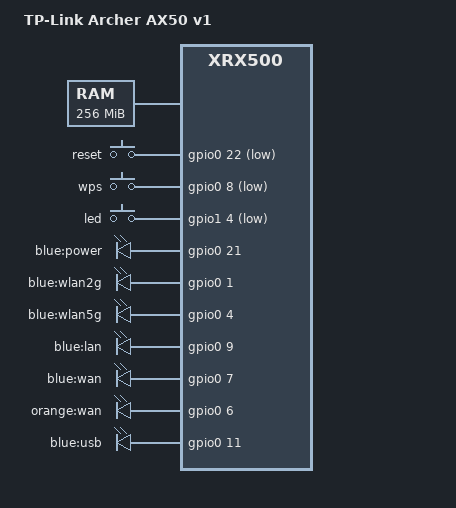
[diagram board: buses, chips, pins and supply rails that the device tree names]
// SPDX-License-Identifier: GPL-2.0-only
/*
 * TP-Link Archer AX50 v1
 *
 *   SoC:    Intel/MaxLinear GRX350 (xRX500), MIPS interAptiv, big-endian
 *   RAM:    256 MiB DDR3
 *   Flash:  128 MiB NAND (2 KiB page, 128 KiB block)
 *   Wi-Fi:  MaxLinear WAV654 (2x2 2.4 GHz + 2x2 5 GHz, 802.11ax), PCIe
 *   Ports:  4x LAN + 1x WAN 1 Gbit/s (internal GPHY), 1x USB 3.0
 *
 * Плата — производная от референсной EASY350 ANYWAN AxePoint (стоковый DTB
 * так и называется), поэтому базой взят easy350_anywan_axepoint_rt.dts.
 * Все отличия ниже сверены с DTB из прошивки TP-Link 1.1.2 Build 20251022
 * и с конфигурацией U-Boot из GPL-архива ax50v1_GPL_3 (см. docs/hardware.md).
 */

#include "easy350_anywan_axepoint_rt.dts"

#include <dt-bindings/gpio/gpio.h>
#include <dt-bindings/input/input.h>

/ {
	model = "TP-Link Archer AX50 v1";
	compatible = "tplink,archer-ax50-v1", "intel,easy350_anywan",
		     "lantiq,grx500", "lantiq,xrx500";

	/* 256 MiB по адресу 0x20000000 (U-Boot передаёт mem=256M@512M) */
	memory@0 {
		device_type = "memory";
		reg = <0x20000000 0x10000000>;
	};

	/*
	 * Светодиод состояния для /etc/diag.sh (мигает при загрузке и в failsafe).
	 * Алиасы led-usb/led-internet намеренно не заданы: штатный 01_leds
	 * таргета привязал бы «интернет» к DSL-интерфейсу nas0. Триггеры
	 * светодиодов AX50 настраивает /etc/board.d/03_ax50 (ax50-base-files).
	 */
	aliases {
		led-boot = &led_power;
		led-failsafe = &led_power;
		led-running = &led_power;
		led-upgrade = &led_power;
	};

	keys {
		compatible = "gpio-keys-polled";
		#address-cells = <1>;
		#size-cells = <0>;
		poll-interval = <100>;

		reset {
			label = "reset";
			gpios = <&gpio0 22 GPIO_ACTIVE_LOW>;
			linux,code = <KEY_RESTART>;
		};

		/* Кнопка WPS/Wi-Fi: короткое нажатие — WPS, от 2 с — вкл/выкл Wi-Fi
		 * (как в стоке, /etc/rc.button/wps) */
		wps {
			label = "wps";
			gpios = <&gpio0 8 GPIO_ACTIVE_LOW>;
			linux,code = <KEY_WPS_BUTTON>;
		};

		/* Кнопка LED: вкл/выкл всех светодиодов (/etc/rc.button/lights_toggle).
		 * В стоковом DTB она подписана «wifi», но Wi-Fi не управляет. */
		led {
			label = "led";
			gpios = <&gpio1 4 GPIO_ACTIVE_LOW>;
			linux,code = <KEY_LIGHTS_TOGGLE>;
		};
	};

	leds {
		compatible = "gpio-leds";

		led_power: power {
			label = "blue:power";
			gpios = <&gpio0 21 GPIO_ACTIVE_HIGH>;
			default-state = "on";
		};

		wlan2g {
			label = "blue:wlan2g";
			gpios = <&gpio0 1 GPIO_ACTIVE_HIGH>;
		};

		wlan5g {
			label = "blue:wlan5g";
			gpios = <&gpio0 4 GPIO_ACTIVE_HIGH>;
		};

		lan {
			label = "blue:lan";
			gpios = <&gpio0 9 GPIO_ACTIVE_HIGH>;
		};

		wan {
			label = "blue:wan";
			gpios = <&gpio0 7 GPIO_ACTIVE_HIGH>;
		};

		wan_fail {
			label = "orange:wan";
			gpios = <&gpio0 6 GPIO_ACTIVE_HIGH>;
		};

		usb {
			label = "blue:usb";
			gpios = <&gpio0 11 GPIO_ACTIVE_HIGH>;
		};
	};
};

/*
 * Разметка NAND 128 MiB — ровно как mtdparts стокового U-Boot:
 *   1m(uboot),256k(ubootconfigA),256k(ubootconfigB),256k(gphyfirmware),
 *   1m(calibration),124m(system_sw),-(res)
 * У референс-платы вместо начала system_sw лежит раздел Bootcore (16 MiB),
 * которого у AX50 нет.
 *
 * uboot, ubootconfigA/B, gphyfirmware и calibration помечены read-only:
 * в calibration — калибровка радио, она уникальна для каждого экземпляра.
 */
&{/ssx4@16000000/localbus@0/nand-parts@0} {
	/delete-node/ partition@0;
	/delete-node/ partition@100000;
	/delete-node/ partition@140000;
	/delete-node/ partition@180000;
	/delete-node/ partition@1c0000;
	/delete-node/ partition@2c0000;
	/delete-node/ partition@12c0000;
	/delete-node/ partition@7Ec0000;

	partition@0 {
		label = "uboot";
		reg = <0x0000000 0x0100000>;
		read-only;
	};

	partition@100000 {
		label = "ubootconfigA";
		reg = <0x0100000 0x0040000>;
	};

	partition@140000 {
		label = "ubootconfigB";
		reg = <0x0140000 0x0040000>;
	};

	partition@180000 {
		label = "gphyfirmware";
		reg = <0x0180000 0x0040000>;
		read-only;
	};

	partition@1c0000 {
		label = "calibration";
		reg = <0x01c0000 0x0100000>;
		read-only;
	};

	partition@2c0000 {
		label = "system_sw";
		reg = <0x02c0000 0x7c00000>;
	};

	partition@7ec0000 {
		label = "res";
		reg = <0x7ec0000 0x0140000>;
		read-only;
	};
};

/*
 * Светодиоды AX50 висят на обычных GPIO. SSO-контроллер референс-платы через
 * pinctrl_ledc забирает пины 4/5/6, а на gpio0 4 и gpio0 6 у AX50 светодиоды
 * Wi-Fi 5 ГГц и «интернет». В стоковом DTB у SSO нет ни одного потребителя.
 */
&ssogpio {
	status = "disabled";
};

&ssoled {
	status = "disabled";
};

/*
 * Питание USB. У референс-платы VBUS идёт через SSO, у AX50 — прямые GPIO
 * (сток: vbus-gpio = gpio0 14 / gpio0 2, на тех же площадках детектор
 * перегрузки). Регуляторы референс-платы переопределяются на эти пины.
 */
&usb0_vbus {
	gpio = <&gpio0 14 GPIO_ACTIVE_HIGH>;
	/delete-property/ enable-active-low;
	enable-active-high;
	regulator-boot-on;
};

&usb1_vbus {
	gpio = <&gpio0 2 GPIO_ACTIVE_HIGH>;
	enable-active-high;
	regulator-boot-on;
};

&pinctrl_usb0_default {
	intel,pins = <14>;
};

&pinctrl_usb0_idle {
	intel,pins = <14>;
};

&pinctrl_usb1_default {
	intel,pins = <2>;
};

&pinctrl_usb1_idle {
	intel,pins = <2>;
};

/*
 * PCIe. Сброс pcie0/pcie1 совпадает со стоком (gpio1 11 / gpio1 29).
 * У pcie2 референс-плата дёргает gpio0 7 — на AX50 это светодиод WAN,
 * а сток указывает там gpio0 14, то есть питание USB. Линию сброса
 * у pcie2 убираем, чтобы контроллер не трогал чужие пины.
 */
&pcie2 {
	/delete-property/ reset-gpios;
};

/*
 * I2C референс-платы (INA219, регулятор TPS65273) на AX50 не распаян: группа
 * pinctrl i2c0 занимает пины 21/22, а это светодиод питания и кнопка reset.
 * С включённой шиной пин 22 мультиплексирован на I2C, GPIO кнопки читается
 * как «нажата» и система уходит в failsafe; в логе — «i2c bus is busy»,
 * ошибки tps65273/ina2xx. Питание CPU от несуществующего BUCK1 тоже убираем.
 */
&i2c {
	status = "disabled";
};

&pinctrl_i2c0 {
	status = "disabled";
};

&cpu0 {
	/delete-property/ cpu-supply;
};

/* CPU3 (второй поток второго ядра) отдан Linux: 4 потока для обработки трафика
 * (RPS, irqbalance). В стоке и в easy350_anywan_axepoint.dts на нём прошивка
 * MPE ("MPEFW"), но без рабочего PPA ускоритель MPE простаивал. */
&cpu3 {
	default-OS = "LINUX";
};

/* У CPU3 нет своего таймера (clockevent GPTC есть только у CPU0-2): ядро
 * поднималось, но CPU3 не получал тиков — RCU stall и зависание загрузки.
 * Таймер 1 GPTC0 (heartbeat для прошивок MPE/voice, их нет) отдаём CPU3
 * как clockevent. Ячейки: <тип таймер cpu>, тип 1 — clockevent. */
&gptc0 {
	intel,clk = <&clocksource 1 0 1>, <&clocksource 1 1 3>, <&clocksource 0 2 0>;
};
